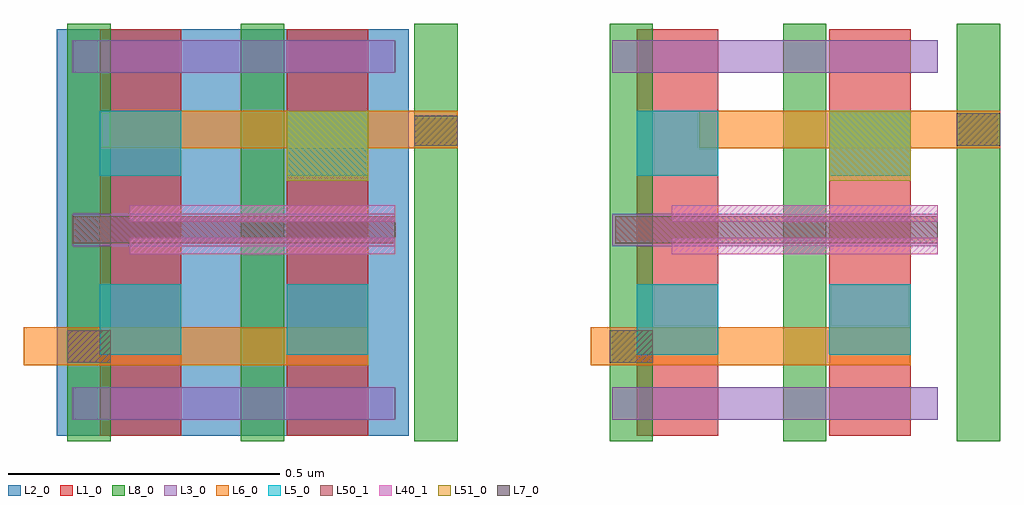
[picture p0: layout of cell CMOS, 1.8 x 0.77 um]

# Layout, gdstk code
import gdstk
lib = gdstk.Library(unit=1e-6, precision=1e-09)
def R(c, l, rs):  # rectangles x0, y0, x1, y1
    for r in rs: c.add(gdstk.rectangle(r[:2], r[2:], *l))
def A(c, l, x, y, w, h, nx, ny, dx, dy):  # array of equal rectangles
    R(c, l, [(x+i*dx, y+j*dy, x+i*dx+w, y+j*dy+h) for i in range(nx) for j in range(ny)])
L1_0 = (1, 0)
L2_0 = (2, 0)
L3_0 = (3, 0)
L5_0 = (5, 0)
L6_0 = (6, 0)
L7_0 = (7, 0)
L8_0 = (8, 0)
L40_1 = (40, 1)
L50_1 = (50, 1)
L51_0 = (51, 0)

cmos = lib.new_cell('CMOS')
R(cmos, L1_0, [(-0.495,-0.35,-0.345,0.4), (-0.15,-0.35,0,0.4), (0.495,-0.35,0.645,0.4), (0.85,-0.35,1,0.4)])
R(cmos, L2_0, [(-0.575,-0.35,0.075,0.4)])
A(cmos, L3_0, -0.545, -0.32, 0.595, 0.06, 1, 3, 0, 0.32)
A(cmos, L3_0, 0.45, -0.32, 0.6, 0.06, 1, 3, 0, 0.32)
R(cmos, L5_0, [(-0.495,-0.2,-0.345,-0.07), (-0.15,-0.2,0,-0.07), (0.495,-0.2,0.645,-0.07), (0.85,-0.2,1,-0.07), (-0.495,0.13,-0.345,0.25), (-0.15,0.13,0,0.25), (0.495,0.13,0.645,0.25), (0.85,0.13,1,0.25)])
R(cmos, L6_0, [(-0.635,-0.22,0,-0.15), (0.41,-0.22,1,-0.15), (-0.495,0.18,0.165,0.25), (0.61,0.18,1.165,0.25)])
R(cmos, L7_0, [(-0.555,-0.215,-0.475,-0.155), (0.445,-0.215,0.525,-0.155), (0.085,0.185,0.165,0.24), (1.085,0.185,1.165,0.245)])
A(cmos, L8_0, -0.555, -0.36, 0.08, 0.77, 3, 1, 0.32, 0)
A(cmos, L8_0, 0.445, -0.36, 0.08, 0.77, 3, 1, 0.32, 0)
R(cmos, L40_1, [(-0.44,-0.015,0.05,0.015), (0.56,-0.015,1.05,0.015), (-0.44,0.045,0.05,0.075), (0.56,0.045,1.05,0.075)])
R(cmos, L50_1, [(-0.545,0.005,0.05,0.055), (0.455,0.005,1.05,0.055)])
R(cmos, L51_0, [(-0.15,0.12,0,0.25), (0.85,0.12,1,0.25)])

lib.write_gds('CMOS.gds')
